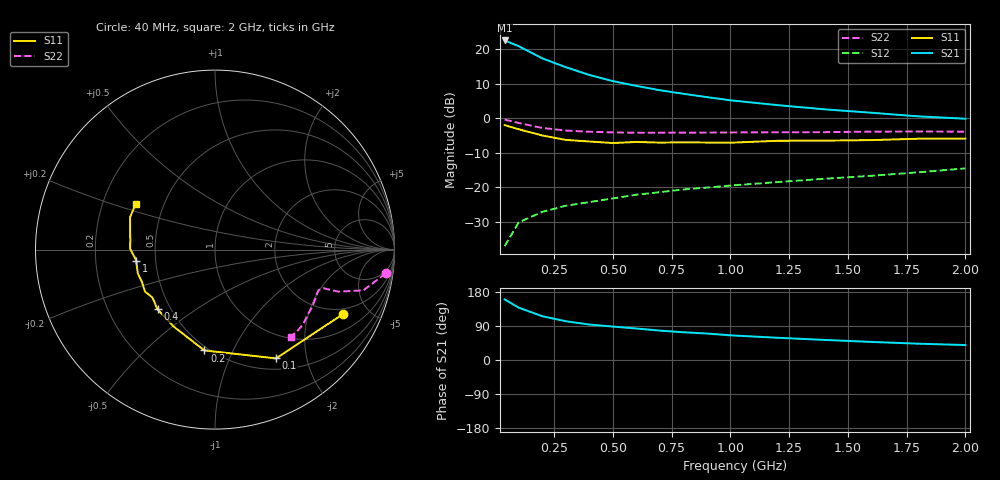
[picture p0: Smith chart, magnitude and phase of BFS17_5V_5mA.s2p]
! Filename:  BFS17B.S2P  Version:  2.0
! Philips part #: BFS17  Date: Jun 1990
! Bias condition: Vce=5V, Ic=5mA
#  MHz  S  MA  R  50
! Freq  S11  S21  S12  S22  !GUM [dB]
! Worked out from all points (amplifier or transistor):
!   16 points, 40 MHz to 2 GHz, reference 50 ohm
!   highest |S21| = 22.6 dB at 40 MHz (marker M1)
!   |S21| within 3 dB of that: start of sweep to 137.8 MHz
!   unconditionally stable (mu >= 1): 618.5 MHz to 1.77 GHz
!   at 200 MHz: K = 0.56, MSG = 22.3 dB, |S12| = -27.1 dB
!   at 800 MHz: K = 1.05, MAG = 12.6 dB, |S12| = -20.6 dB
!   at 2 GHz: K = 0.95, MSG = 7.2 dB, |S12| = -14.5 dB
!   S11 on the Smith chart (normalised r, x): 40 MHz: 1.71, -3.39; 100 MHz: 0.64, -1.51; 200 MHz: 0.47, -0.78; 400 MHz: 0.42, -0.36; 1 GHz: 0.39, -0.06; 2 GHz: 0.35, +0.24
40  0.798 -26.8  13.5 159.9  0.014 73.5  0.961 -7.9
100  0.695 -60.7  11.14 138.1  0.031 61.7  0.857 -15.4
200  0.565 -96.0  7.424 115.6  0.044 53.8  0.726 -18.8
300  0.487 -118.1  5.526 102.3  0.054 52.6  0.666 -19.4
400  0.462 -133.9  4.266 93.6  0.061 55.1  0.639 -19.6
500  0.439 -142.6  3.473 88.2  0.069 56.5  0.626 -20.7
600  0.455 -149.1  2.959 83.1  0.078 57.6  0.619 -21.5
700  0.445 -156.0  2.561 77.6  0.085 58.2  0.619 -23.1
800  0.45 -163.0  2.272 73.2  0.093 61.2  0.621 -24.4
900  0.446 -166.6  2.035 69.9  0.099 61.8  0.623 -25.8
1000  0.443 -172.1  1.828 65.1  0.106 63.4  0.624 -27.5
1200  0.473 179.4  1.557 58.7  0.119 65.7  0.629 -31.1
1400  0.475 173.5  1.353 53.0  0.133 67.9  0.631 -35.6
1600  0.484 167.8  1.207 47.7  0.147 71.7  0.643 -39.8
1800  0.507 159.0  1.069 43.0  0.165 75.0  0.645 -44.4
2000  0.509 150.0  0.989 39.5  0.188 76.9  0.643 -49.0
